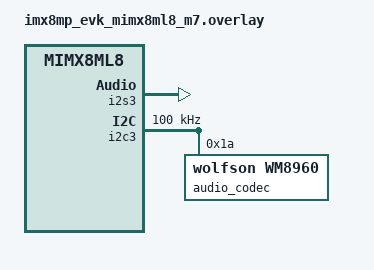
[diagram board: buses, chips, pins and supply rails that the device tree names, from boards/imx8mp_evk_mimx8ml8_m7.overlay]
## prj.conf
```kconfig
CONFIG_LOG=y

CONFIG_MPIPE=y
CONFIG_MPIPE_BASE=y
CONFIG_MPIPE_BASE_CAPS_FILTER=y
CONFIG_MPIPE_AUD=y
CONFIG_ZBUS_MSG_SUBSCRIBER=y

CONFIG_AUDIO=y
CONFIG_AUDIO_CODEC=y
CONFIG_I2S=y

CONFIG_MAIN_STACK_SIZE=4096

CONFIG_ZBUS_PRIORITY_BOOST=n
CONFIG_ZBUS_LOG_LEVEL_ERR=y
```

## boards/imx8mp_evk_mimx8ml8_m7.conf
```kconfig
CONFIG_DMA=y
CONFIG_DMA_NXP_SDMA=y
CONFIG_I2S_NXP_SAI_SDMA=y
CONFIG_PINCTRL=y

CONFIG_MPIPE_AUD_BUFFER_POOL_SZ_MAX=2048
CONFIG_MPIPE_AUD_BUFFER_POOL_NUM_MAX=20
CONFIG_HEAP_MEM_POOL_SIZE=8192
CONFIG_MAIN_STACK_SIZE=4096
CONFIG_MPIPE_LATENCY=y
```

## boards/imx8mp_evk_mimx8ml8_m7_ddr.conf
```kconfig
CONFIG_DMA=y
CONFIG_DMA_NXP_SDMA=y
CONFIG_I2S_NXP_SAI_SDMA=y

CONFIG_HEAP_MEM_POOL_SIZE=131072
CONFIG_MAIN_STACK_SIZE=8192
CONFIG_PINCTRL=y
```

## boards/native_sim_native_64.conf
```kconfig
CONFIG_AUDIO_CODEC_INIT_PRIORITY=40
CONFIG_MPIPE_LATENCY=y
```

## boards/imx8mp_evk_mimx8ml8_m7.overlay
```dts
/*
 * Copyright 2026 NXP
 *
 * SPDX-License-Identifier: Apache-2.0
 *
 * SAI3/WM8960 analog loop. SAI3, SDMA3 and I2C3 must be in the M7 RDC domain
 * (the default with imx8mp-evk-rpmsg.dtb).
 */

#include <zephyr/dt-bindings/clock/imx_ccm.h>
#include <zephyr/dt-bindings/i2c/i2c.h>

/delete-node/ &sai3;

&sdma3 {
	status = "okay";
};

/ {
	aliases {
		i2s-codec-tx = &i2s3;
		i2s-codec-rx = &i2s3;
		audio-codec-capture = &audio_codec;
	};

	soc {
		i2s3: i2s@30c30000 {
			compatible = "nxp,sai-sdma";
			reg = <0x30c30000 0x10000>;
			clocks = <&ccm IMX_CCM_SAI3_CLK 0x0 0x0>;
			interrupts = <50 3>;
			dmas = <&sdma3 5 5>, <&sdma3 4 5>;
			dma-names = "tx", "rx";
			mclk-output;
			rx-sync-mode;
			pinctrl-0 = <&sai3_default>;
			pinctrl-names = "default";
			status = "okay";
		};
	};
};

&i2c3 {
	status = "okay";
	pinctrl-0 = <&pinmux_i2c3>;
	pinctrl-names = "default";
	clock-frequency = <I2C_BITRATE_STANDARD>;

	audio_codec: wm8960@1a {
		compatible = "wolfson,wm8960";
		reg = <0x1a>;
		clocks = <&ccm IMX_CCM_SAI3_CLK 0x0 0x0>;
		clock-names = "mclk";
		left-input = "WM8960_IN_MIC_DE_13";
		right-input = "WM8960_IN_MIC_DE_13";
		shared-lrclk;
	};
};
```

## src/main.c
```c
/*
 * Copyright 2026 NXP
 *
 * SPDX-License-Identifier: Apache-2.0
 */

#include <zephyr/kernel.h>
#include <zephyr/zbus/zbus.h>
#include <zephyr/logging/log.h>

#include <zephyr/mpipe/mpipe.h>
#include <zephyr/mpipe/mpipe_message.h>
#include <zephyr/mpipe/aud/mpipe_aud.h>
#include <zephyr/mpipe/aud/mpipe_aud_i2s_src.h>
#include <zephyr/mpipe/aud/mpipe_aud_i2s_codec_sink.h>
#include <zephyr/mpipe/aud/mpipe_aud_gain.h>
#include <zephyr/mpipe/base/mpipe_caps_filter.h>
#include <zephyr/mpipe/mpipe_latency.h>

LOG_MODULE_REGISTER(main);

enum {
	PIPE_ID,
	I2S_SRC_ID,
	CAPS_FILTER_ID,
	AUD_GAIN_ID,
	I2S_SINK_ID,
};

__nocache struct k_mem_slab mem_slab;

ZBUS_MSG_SUBSCRIBER_DEFINE(main_sub);

static struct mpipe pipe;
static struct mpipe_aud_i2s_src source;
static struct mpipe_caps_filter caps_filter;
static struct mpipe_aud_gain gain;
static struct mpipe_aud_i2s_codec_sink sink;

int main(void)
{
	int gain_val = 90;
	struct zbus_channel *bus = NULL;
	int ret = 0;

	ret = mpipe_pipeline_init(&pipe, PIPE_ID);
	if (ret < 0) {
		goto err;
	}
	ret = mpipe_aud_i2s_src_init(&source, I2S_SRC_ID);
	if (ret < 0) {
		goto err;
	}
	ret = mpipe_caps_filter_init(&caps_filter, CAPS_FILTER_ID);
	if (ret < 0) {
		goto err;
	}
	ret = mpipe_aud_gain_init(&gain, AUD_GAIN_ID);
	if (ret < 0) {
		goto err;
	}
	ret = mpipe_aud_i2s_codec_sink_init(&sink, I2S_SINK_ID);
	if (ret < 0) {
		goto err;
	}

	ret = mpipe_object_set_properties((struct mpipe_object *)&source,
					  MPIPE_PROP_AUD_SRC_SLAB_PTR, &mem_slab,
					  MPIPE_PROP_LIST_END);
	if (ret < 0) {
		LOG_ERR("Failed to set properties for source element");
		goto err;
	}

	ret = mpipe_object_set_properties((struct mpipe_object *)&sink,
					  MPIPE_PROP_AUD_SINK_SLAB_PTR, &mem_slab,
					  MPIPE_PROP_LIST_END);
	if (ret < 0) {
		LOG_ERR("Failed to set properties for sink element");
		goto err;
	}

	ret = mpipe_object_set_properties((struct mpipe_object *)&gain,
					  MPIPE_PROP_AUD_TRANSFORM_GAIN, &gain_val,
					  MPIPE_PROP_LIST_END);
	if (ret < 0) {
		LOG_ERR("Failed to set properties for gain element");
		goto err;
	}

	struct mpipe_structure caps;

	ret = mpipe_structure_init_fields(&caps, MPIPE_MEDIA_AUDIO_PCM, MPIPE_CAPS_FRAME_INTERVAL,
					  MPIPE_TYPE_UINT, 10000, MPIPE_CAPS_NUM_OF_CHANNEL,
					  MPIPE_TYPE_UINT, 2, MPIPE_CAPS_END);
	if (ret != 0) {
		LOG_ERR("Failed to create a caps");
		goto err;
	}

	ret = mpipe_object_set_properties((struct mpipe_object *)&caps_filter,
					  MPIPE_PROP_BASE_CAPS_FILTER_CAPS, &caps,
					  MPIPE_PROP_LIST_END);
	if (ret < 0) {
		LOG_ERR("Failed to set properties for caps filter element");
		goto err;
	}

	ret = mpipe_bin_add((struct mpipe_bin *)&pipe, (struct mpipe_element *)&source,
			    (struct mpipe_element *)&caps_filter, (struct mpipe_element *)&gain,
			    (struct mpipe_element *)&sink, NULL);
	if (ret < 0) {
		LOG_ERR("Failed to add elements (%d)", ret);
		goto err;
	}

	ret = mpipe_element_link(
		(struct mpipe_element *)&source, (struct mpipe_element *)&caps_filter,
		(struct mpipe_element *)&gain, (struct mpipe_element *)&sink, NULL);
	if (ret < 0) {
		LOG_ERR("Failed to link elements (%d)", ret);
		goto err;
	}

	bus = mpipe_element_get_bus_chan((struct mpipe_element *)&pipe);

	ret = zbus_chan_add_obs(bus, &main_sub, K_FOREVER);
	if (ret != 0) {
		LOG_ERR("Failed to attach observer to pipeline channel (%d)", ret);
		goto err;
	}

	if (mpipe_element_set_state((struct mpipe_element *)&pipe, MPIPE_STATE_PLAYING) !=
	    MPIPE_STATE_CHANGE_SUCCESS) {
		LOG_ERR("Failed to start pipeline");
		goto err_set_state;
	}

	struct mpipe_latency_bound e2e;

	mpipe_latency_query((struct mpipe_element *)&sink, &e2e);
	LOG_INF("latency e2e (declared): min %u ms / max %u ms", e2e.min_us / 1000U,
		e2e.max_us / 1000U);

	const struct zbus_channel *chan;
	struct mpipe_message msg;
	int sub_ret;

	while (true) {
		sub_ret = zbus_sub_wait_msg(&main_sub, &chan, &msg, K_MSEC(2000));
		if (sub_ret == -ENOMSG) {
			struct mpipe_latency_stats lat;

			mpipe_latency_get_stats(&lat);
			LOG_INF("latency: n=%u min=%u avg=%u max=%u us", lat.count, lat.min_us,
				lat.count ? (uint32_t)(lat.sum_us / lat.count) : 0U, lat.max_us);
			mpipe_latency_reset();
			continue;
		}
		if (sub_ret != 0) {
			LOG_ERR("zbus_sub_wait_msg failed (%d)", sub_ret);
			goto err_set_state;
		}
		if ((msg.type & (MPIPE_MESSAGE_ERROR | MPIPE_MESSAGE_EOS)) != 0) {
			break;
		}
	}

	int origin_id = (msg.origin != NULL) ? msg.origin->object.id : -1;

	switch (msg.type) {
	case MPIPE_MESSAGE_ERROR:
		LOG_ERR("ERROR message from element %d", origin_id);
		break;
	case MPIPE_MESSAGE_EOS:
		LOG_INF("EOS message from element %d", origin_id);
		break;
	default:
		LOG_ERR("Unexpected message from element %d", origin_id);
		break;
	}

	(void)zbus_chan_rm_obs(bus, &main_sub, K_FOREVER);
	(void)mpipe_element_set_state((struct mpipe_element *)&pipe, MPIPE_STATE_READY);

	return 0;

err_set_state:
	zbus_chan_rm_obs(bus, &main_sub, K_FOREVER);
err:
	LOG_ERR("Aborting sample");
	return ret != 0 ? ret : -EIO;
}
```
